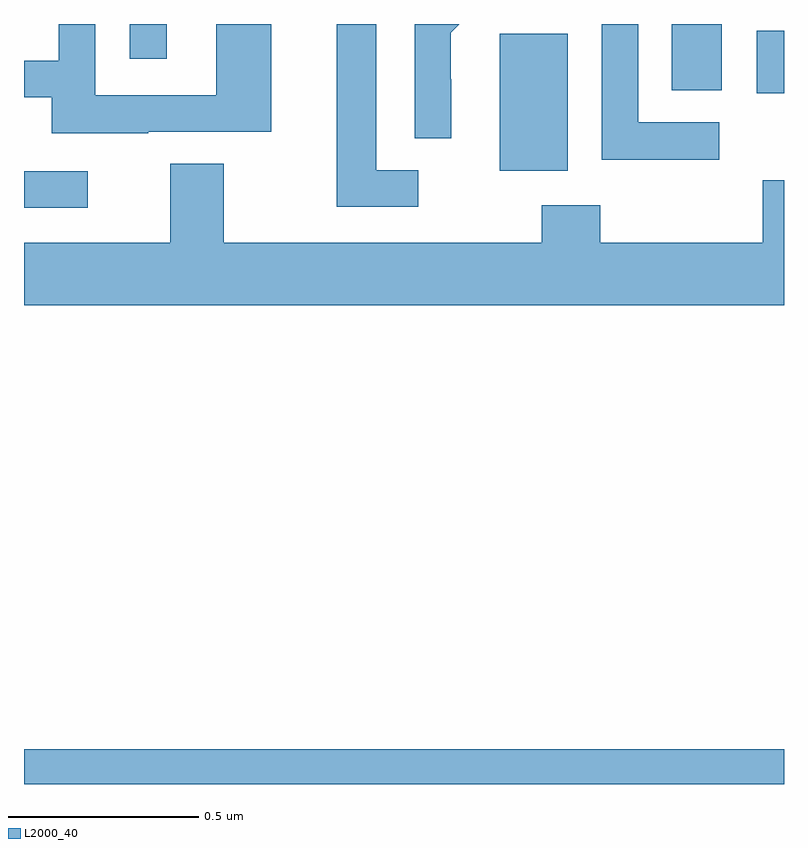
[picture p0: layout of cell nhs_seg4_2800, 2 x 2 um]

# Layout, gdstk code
import gdstk
lib = gdstk.Library(unit=1e-6, precision=1e-09)
def R(c, l, rs):  # rectangles x0, y0, x1, y1
    for r in rs: c.add(gdstk.rectangle(r[:2], r[2:], *l))
def P(c, l, *ps):  # polygons
    for p in ps: c.add(gdstk.Polygon(p, *l))
L2000_40 = (2000, 40)

nhs_seg4_2800 = lib.new_cell('nhs_seg4_2800')
R(nhs_seg4_2800, L2000_40, [(145,788.9,147,788.992), (145,790.416,145.168,790.512), (146.252,790.514,146.431,790.875), (146.928,790.718,147,790.882), (146.705,790.726,146.836,790.9), (145.278,790.809,145.375,790.9)])
P(nhs_seg4_2800, L2000_40, [(146.038,790.515),(145.927,790.515),(145.927,790.9),(145.823,790.9),(145.823,790.419),(146.038,790.419)],
  [(146.124,790.754),(146.123,790.754),(146.123,790.877),(146.146,790.9),(146.028,790.9),(146.028,790.6),(146.124,790.6)],
  [(146.83,790.641),(146.616,790.641),(146.616,790.9),(146.52,790.9),(146.52,790.543),(146.83,790.543)],
  [(145.327,790.617),(145.651,790.617),(145.651,790.9),(145.506,790.9),(145.506,790.713),(145.188,790.713),(145.188,790.9),(145.092,790.9),(145.092,790.803),(145,790.803),(145,790.707),(145.073,790.707),(145.073,790.613),(145.327,790.613)],
  [(147,790.489),(146.944,790.489),(146.944,790.324),(146.517,790.324),(146.517,790.423),(146.362,790.423),(146.362,790.324),(145.525,790.324),(145.525,790.532),(145.385,790.532),(145.385,790.324),(145,790.324),(145,790.16),(147,790.16)])

lib.write_gds('nhs_seg4_2800.gds')
